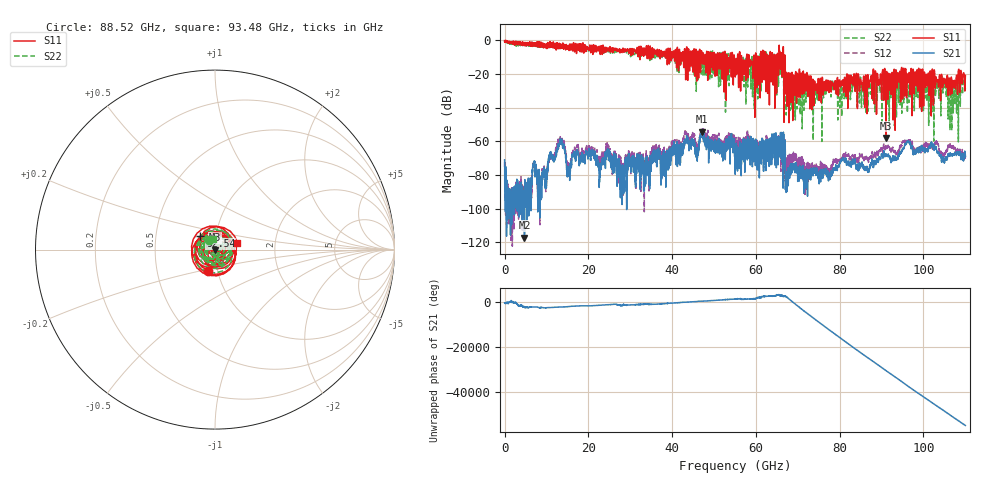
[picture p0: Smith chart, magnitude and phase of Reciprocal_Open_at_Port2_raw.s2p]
#  HZ  S  RI  R  50.00
! Rohde & Schwarz ZVA67 4Ports - Version 4.11 - 1305.7002k04 SN: 101032
! Date: 2026-02-18 15:46:42
! Measurements: S11 S21 S12 S22
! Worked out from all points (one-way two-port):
!   5500 points, 20 MHz to 110 GHz, reference 50 ohm
!   highest |S21| = -54.21 dB at 47.1 GHz (marker M1); lowest = -117.2 dB at 4.76 GHz (marker M2)
!   lowest |S11| = -57.9 dB at 91 GHz (marker M3), VSWR 1.00, Z = 50.1 + j0.0524 ohm
!   |S11| at or under -10 dB: 56.61 GHz to 57.76 GHz (1.147 GHz wide, 2.01 % of centre); 58.4 GHz to 59.44 GHz (1.046 GHz wide, 1.77 % of centre); 66.98 GHz to end of sweep (the widest 3 of 67)
!   |S22| runs from -60.3 to -0.1 dB; largest |S21 - S12| = 0.004
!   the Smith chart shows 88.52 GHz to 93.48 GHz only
!   S11 on the Smith chart (normalised r, x): 88.52 GHz: 0.90, -0.21; 92.54 GHz: 0.84, +0.13; 93.48 GHz: 1.28, +0.09
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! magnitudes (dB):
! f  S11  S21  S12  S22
! 20 MHz  -0.1  -71.1  -72.4  -0.1
! 4.76 GHz  -2.2  -117.2  -89.4  -2.1
! 9.72 GHz  -3.7  -84.2  -79.6  -3.2
! 13.24 GHz  -5.0  -59.9  -57.1  -3.9
! 15.26 GHz  -2.9  -79.0  -75.7  -4.2
! 18.36 GHz  -3.5  -69.4  -67.5  -3.8
! 24.68 GHz  -5.3  -65.8  -64.8  -6.4
! 28.2 GHz  -5.2  -89.3  -75.8  -6.0
! 36.68 GHz  -9.2  -68.5  -64.5  -9.8
! 45.92 GHz  -18.3  -68.0  -62.7  -7.2
! 47.1 GHz  -7.4  -54.2  -52.9  -9.3
! 55.02 GHz  -20.9  -63.0  -62.7  -12.9
! 65.62 GHz  -6.3  -64.1  -62.9  -9.1
! 67.56 GHz  -22.7  -79.6  -78.5  -25.9
! 73.34 GHz  -39.6  -77.4  -74.1  -28.0
! 88.52 GHz  -18.2  -73.1  -68.7  -24.2
! 91 GHz  -57.9  -67.6  -62.6  -33.9
! 91.68 GHz  -19.6  -69.2  -63.7  -21.5
! 92.54 GHz  -19.0  -70.2  -63.8  -24.8
! 93.48 GHz  -17.7  -70.7  -67.4  -24.6
! 96.34 GHz  -25.1  -60.3  -59.3  -26.8
! 110 GHz  -20.8  -68.8  -68.9  -28.4
